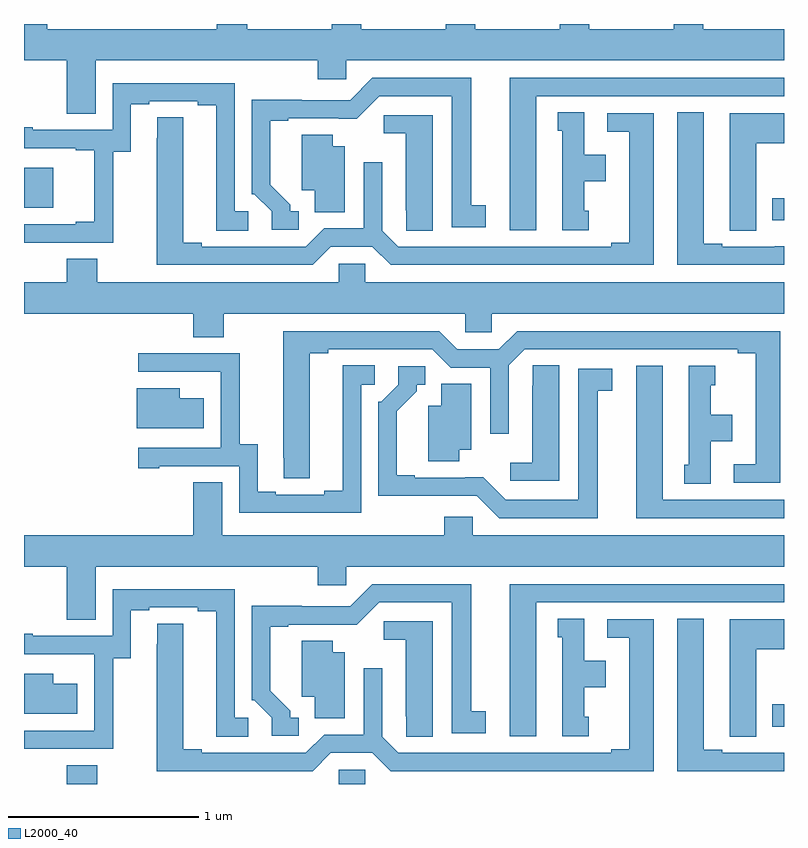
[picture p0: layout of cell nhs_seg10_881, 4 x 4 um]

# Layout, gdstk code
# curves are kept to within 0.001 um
import gdstk
lib = gdstk.Library(unit=1e-6, precision=1e-09)
def R(c, l, rs):  # rectangles x0, y0, x1, y1
    for r in rs: c.add(gdstk.rectangle(r[:2], r[2:], *l))
def P(c, l, *ps):  # polygons
    for p in ps: c.add(gdstk.Polygon(p, *l))
L2000_40 = (2000, 40)

nhs_seg10_881 = lib.new_cell('nhs_seg10_881')
R(nhs_seg10_881, L2000_40, [(155.225,1304.5,155.385,1304.6), (156.657,1304.5,156.795,1304.574), (158.939,1304.802,159,1304.919), (158.939,1307.466,159,1307.583), (155,1307.534,155.155,1307.743)])
P(nhs_seg10_881, L2000_40, [(155.377,1308.308),(156.545,1308.308),(156.545,1308.21),(156.696,1308.21),(156.696,1308.308),(159,1308.308),(159,1308.472),(158.574,1308.472),(158.574,1308.5),(158.419,1308.5),(158.419,1308.472),(157.974,1308.472),(157.974,1308.5),(157.819,1308.5),(157.819,1308.472),(157.374,1308.472),(157.374,1308.5),(157.219,1308.5),(157.219,1308.472),(156.774,1308.472),(156.774,1308.5),(156.619,1308.5),(156.619,1308.472),(156.174,1308.472),(156.174,1308.5),(156.014,1308.5),(156.014,1308.472),(155.123,1308.472),(155.123,1308.5),(155,1308.5),(155,1308.308),(155.225,1308.308),(155.225,1308.028),(155.377,1308.028)],
  [(156.445,1307.514),(156.4,1307.514),(156.4,1307.549),(156.295,1307.654),(156.295,1307.991),(156.391,1307.991),(156.391,1308.003),(156.752,1308.002),(156.87,1308.12),(157.25,1308.12),(157.25,1307.43),(157.429,1307.43),(157.429,1307.546),(157.354,1307.546),(157.354,1308.216),(156.834,1308.216),(156.717,1308.099),(156.461,1308.099),(156.461,1308.101),(156.198,1308.101),(156.198,1307.604),(156.213,1307.604),(156.303,1307.514),(156.303,1307.418),(156.445,1307.418)],
  [(157.696,1308.12),(159,1308.12),(159,1308.216),(157.556,1308.216),(157.556,1307.415),(157.696,1307.415)],
  [(155.469,1307.827),(155.563,1307.827),(155.563,1308.078),(155.659,1308.078),(155.659,1308.093),(155.915,1308.093),(155.915,1308.073),(156.011,1308.073),(156.011,1307.413),(156.181,1307.413),(156.181,1307.514),(156.108,1307.514),(156.108,1308.189),(155.466,1308.189),(155.466,1307.943),(155.047,1307.943),(155.047,1307.956),(155,1307.956),(155,1307.847),(155.273,1307.847),(155.273,1307.835),(155.369,1307.835),(155.369,1307.458),(155.273,1307.458),(155.273,1307.445),(155,1307.445),(155,1307.349),(155.469,1307.349)],
  [(159,1307.329),(158.95,1307.329),(158.95,1307.328),(158.674,1307.328),(158.674,1307.343),(158.578,1307.343),(158.578,1308.035),(158.438,1308.035),(158.438,1307.232),(159,1307.232)],
  [(157.972,1307.517),(157.948,1307.517),(157.948,1307.672),(158.062,1307.672),(158.062,1307.812),(157.948,1307.812),(157.948,1308.035),(157.808,1308.035),(157.808,1307.937),(157.832,1307.937),(157.832,1307.415),(157.972,1307.415)],
  [(158.854,1307.872),(159,1307.872),(159,1308.031),(158.714,1308.031),(158.714,1307.521),(158.715,1307.521),(158.715,1307.413),(158.854,1307.413)],
  [(156.615,1307.328),(156.833,1307.328),(156.929,1307.232),(158.314,1307.232),(158.314,1308.03),(158.07,1308.03),(158.07,1307.934),(158.186,1307.934),(158.186,1307.348),(158.09,1307.348),(158.09,1307.328),(156.969,1307.328),(156.885,1307.412),(156.885,1307.773),(156.789,1307.773),(156.789,1307.424),(156.579,1307.424),(156.483,1307.328),(155.935,1307.328),(155.935,1307.348),(155.839,1307.348),(155.839,1308.008),(155.7,1308.008),(155.699,1307.232),(156.519,1307.232)],
  [(157.15,1308.021),(156.894,1308.021),(156.894,1307.924),(157.01,1307.924),(157.01,1307.521),(157.011,1307.521),(157.011,1307.413),(157.15,1307.413)],
  [(156.688,1307.857),(156.625,1307.857),(156.625,1307.918),(156.461,1307.918),(156.461,1307.624),(156.53,1307.624),(156.53,1307.509),(156.688,1307.509)],
  [(156.051,1306.976),(157.323,1306.976),(157.323,1306.878),(157.461,1306.878),(157.461,1306.976),(159,1306.976),(159,1307.14),(156.795,1307.14),(156.795,1307.238),(156.657,1307.238),(156.657,1307.14),(155.385,1307.14),(155.385,1307.264),(155.225,1307.264),(155.225,1307.14),(155,1307.14),(155,1306.976),(155.891,1306.976),(155.891,1306.852),(156.051,1306.852)],
  [(158.98,1306.884),(157.595,1306.884),(157.499,1306.788),(157.281,1306.788),(157.185,1306.884),(156.365,1306.884),(156.366,1306.108),(156.505,1306.108),(156.505,1306.768),(156.601,1306.768),(156.601,1306.788),(157.149,1306.788),(157.245,1306.692),(157.455,1306.692),(157.455,1306.344),(157.551,1306.344),(157.551,1306.704),(157.635,1306.788),(158.756,1306.788),(158.756,1306.768),(158.852,1306.768),(158.852,1306.182),(158.736,1306.182),(158.736,1306.086),(158.98,1306.086)],
  [(156.774,1306.602),(156.847,1306.602),(156.847,1306.703),(156.677,1306.703),(156.677,1306.043),(156.581,1306.043),(156.581,1306.023),(156.325,1306.023),(156.325,1306.038),(156.229,1306.038),(156.229,1306.289),(156.135,1306.289),(156.135,1306.767),(155.601,1306.767),(155.601,1306.671),(156.035,1306.671),(156.035,1306.67),(156.036,1306.67),(156.036,1306.269),(155.601,1306.269),(155.601,1306.161),(155.713,1306.161),(155.713,1306.173),(156.132,1306.173),(156.132,1305.927),(156.774,1305.927)],
  [(157.816,1306.703),(157.677,1306.703),(157.677,1306.595),(157.676,1306.595),(157.676,1306.192),(157.56,1306.192),(157.56,1306.095),(157.816,1306.095)],
  [(158.614,1306.304),(158.728,1306.304),(158.728,1306.444),(158.614,1306.444),(158.614,1306.599),(158.638,1306.599),(158.638,1306.702),(158.498,1306.702),(158.498,1306.179),(158.474,1306.179),(158.474,1306.081),(158.614,1306.081)],
  [(159,1305.996),(158.362,1305.996),(158.362,1306.702),(158.222,1306.702),(158.222,1305.9),(159,1305.9)],
  [(158.02,1306.57),(158.095,1306.57),(158.095,1306.686),(157.916,1306.686),(157.916,1305.996),(157.536,1305.996),(157.418,1306.114),(157.057,1306.113),(157.057,1306.126),(156.961,1306.126),(156.961,1306.462),(157.066,1306.567),(157.066,1306.602),(157.111,1306.602),(157.111,1306.698),(156.969,1306.698),(156.969,1306.602),(156.879,1306.512),(156.864,1306.512),(156.864,1306.016),(157.383,1306.017),(157.5,1305.9),(158.02,1305.9)],
  [(157.291,1306.259),(157.354,1306.259),(157.354,1306.607),(157.196,1306.607),(157.196,1306.492),(157.127,1306.492),(157.127,1306.198),(157.291,1306.198)],
  [(155.947,1306.531),(155.821,1306.531),(155.821,1306.582),(155.594,1306.582),(155.594,1306.373),(155.947,1306.373)],
  [(155.377,1305.644),(156.545,1305.644),(156.545,1305.546),(156.696,1305.546),(156.696,1305.644),(159,1305.644),(159,1305.808),(157.362,1305.808),(157.362,1305.906),(157.211,1305.906),(157.211,1305.808),(156.043,1305.808),(156.043,1306.088),(155.891,1306.088),(155.891,1305.808),(155,1305.808),(155,1305.644),(155.225,1305.644),(155.225,1305.364),(155.377,1305.364)],
  [(156.445,1304.85),(156.4,1304.85),(156.4,1304.885),(156.295,1304.99),(156.295,1305.327),(156.391,1305.327),(156.391,1305.339),(156.752,1305.338),(156.87,1305.456),(157.25,1305.456),(157.25,1304.766),(157.429,1304.766),(157.429,1304.882),(157.354,1304.882),(157.354,1305.552),(156.834,1305.552),(156.717,1305.435),(156.461,1305.435),(156.461,1305.437),(156.198,1305.437),(156.198,1304.94),(156.213,1304.94),(156.303,1304.85),(156.303,1304.754),(156.445,1304.754)],
  [(157.696,1305.456),(159,1305.456),(159,1305.552),(157.556,1305.552),(157.556,1304.751),(157.696,1304.751)],
  [(155.469,1305.163),(155.563,1305.163),(155.563,1305.414),(155.659,1305.414),(155.659,1305.429),(155.915,1305.429),(155.915,1305.409),(156.011,1305.409),(156.011,1304.749),(156.181,1304.749),(156.181,1304.85),(156.108,1304.85),(156.108,1305.525),(155.466,1305.525),(155.466,1305.279),(155.047,1305.279),(155.047,1305.292),(155,1305.292),(155,1305.183),(155.369,1305.183),(155.369,1305.182),(155.37,1305.182),(155.37,1304.781),(155,1304.781),(155,1304.685),(155.469,1304.685)],
  [(159,1304.665),(158.95,1304.665),(158.95,1304.664),(158.674,1304.664),(158.674,1304.679),(158.578,1304.679),(158.578,1305.371),(158.438,1305.371),(158.438,1304.568),(159,1304.568)],
  [(157.972,1304.853),(157.948,1304.853),(157.948,1305.008),(158.062,1305.008),(158.062,1305.148),(157.948,1305.148),(157.948,1305.371),(157.808,1305.371),(157.808,1305.273),(157.832,1305.273),(157.832,1304.751),(157.972,1304.751)],
  [(158.854,1305.208),(159,1305.208),(159,1305.367),(158.714,1305.367),(158.714,1304.857),(158.715,1304.857),(158.715,1304.749),(158.854,1304.749)],
  [(156.615,1304.664),(156.833,1304.664),(156.929,1304.568),(158.314,1304.568),(158.314,1305.366),(158.07,1305.366),(158.07,1305.27),(158.186,1305.27),(158.186,1304.684),(158.09,1304.684),(158.09,1304.664),(156.969,1304.664),(156.885,1304.748),(156.885,1305.109),(156.789,1305.109),(156.789,1304.76),(156.579,1304.76),(156.483,1304.664),(155.935,1304.664),(155.935,1304.684),(155.839,1304.684),(155.839,1305.344),(155.7,1305.344),(155.699,1304.568),(156.519,1304.568)],
  [(157.15,1305.357),(156.894,1305.357),(156.894,1305.26),(157.01,1305.26),(157.01,1304.857),(157.011,1304.857),(157.011,1304.749),(157.15,1304.749)],
  [(156.688,1305.193),(156.625,1305.193),(156.625,1305.254),(156.461,1305.254),(156.461,1304.96),(156.53,1304.96),(156.53,1304.845),(156.688,1304.845)],
  [(155.281,1305.028),(155.155,1305.028),(155.155,1305.079),(155,1305.079),(155,1304.87),(155.281,1304.87)])

lib.write_gds('nhs_seg10_881.gds')
